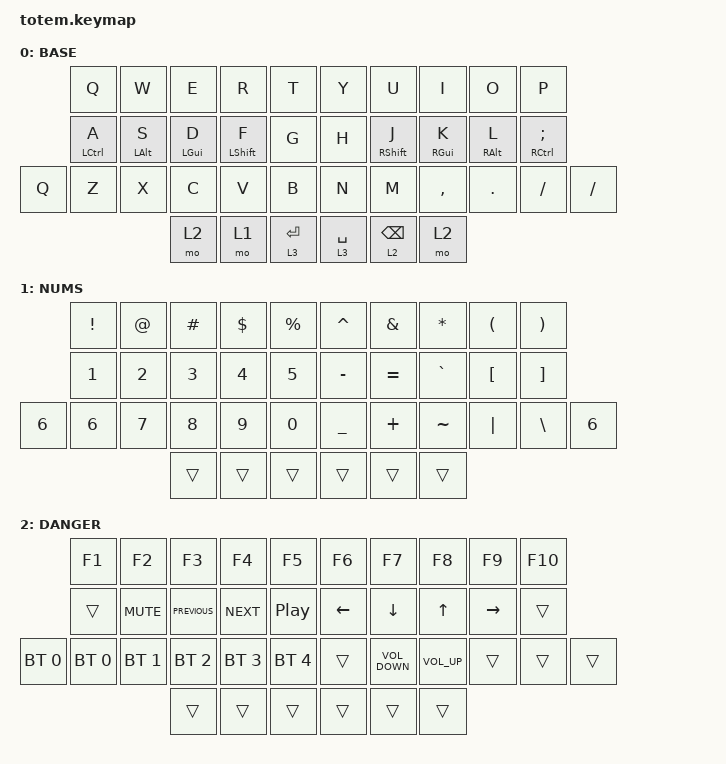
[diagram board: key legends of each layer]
//
//                                                        ▀▀▀▀▀     ▀▀▀▀▀          ▀▀█▀▀
//                                                        ▄▀▀▀▄  ▄  ▄▀▀▀▄  ▄  ▄▀▀▀▄  █  ▄▀▀▀▄
//                                                        █   █  █  █   █  █  █   █  █  █   █
//                                                         ▀▀▀   █   ▀▀▀   █   ▀▀▀   ▀   ▀▀▀
//                                                               █      ▄▄▄█▄▄▄    █   █  
//                                                               ▀      █  █  █     █▄█
//                                                             ▀▀▀▀▀    █  █  █      ▀
//                                                                      ▀  ▀  ▀
//
// ▄▄▄▄▄▄▄▄▄▄▄▄▄▄▄▄▄▄▄▄▄▄▄▄▄▄▄▄▄▄▄▄▄▄▄▄▄▄▄▄▄▄▄▄▄▄▄▄▄▄▄▄▄▄▄▄▄▄▄▄▄▄▄▄▄▄▄▄▄▄▄▄▄▄▄▄▄▄▄▄▄▄▄▄▄▄▄▄▄▄▄▄▄▄▄▄▄▄▄▄▄▄▄▄▄▄▄▄▄▄▄▄▄▄▄▄▄▄▄▄▄▄▄▄▄▄▄▄▄▄▄▄▄▄▄▄▄▄▄▄▄▄▄▄▄▄▄▄▄

#include "zmk-helpers/helper.h"

#define HM_TAPPING_TERM 180
#define HM_TAPPING_TERM_FAST 150
#define HM_PRIOR_IDLE 120
#define COMBO_TERM_FAST 35
#define COMBO_TERM_SLOW 40
#define COMBO_PRIOR_IDLE 80
#define BASE 0
#define NUMS 1
#define DANGER 2

/* use helper macros to define left and right hand keys */

#include "zmk-helpers/key-labels/totem.h"                                   // key-position labels
#include <behaviors.dtsi>
#include <dt-bindings/zmk/bt.h>
#include <dt-bindings/zmk/keys.h>

#define KEYS_L LT0 LT1 LT2 LT3 LT4 LM0 LM1 LM2 LM3 LM4 LB0 LB1 LB2 LB3 LB4  // left-hand keys
#define KEYS_R RT0 RT1 RT2 RT3 RT4 RM0 RM1 RM2 RM3 RM4 RB0 RB1 RB2 RB3 RB4  // right-hand keys
#define KEYS_T LH2 LH1 LH0 RH0 RH1 RH2                                      // thumb keys

&lt { tapping-term-ms = <175>; };

/ {
    combos {
        compatible = "zmk,combos";

        //INFO: Brackets and braces

        combo_paren_l {
            timeout-ms = <COMBO_TERM_FAST>;
            require-prior-idle-ms = <COMBO_PRIOR_IDLE>;
            bindings = <&kp LEFT_PARENTHESIS>;
            key-positions = <2 3>;
        };

        combo_paren_r {
            timeout-ms = <COMBO_TERM_FAST>;
            require-prior-idle-ms = <COMBO_PRIOR_IDLE>;
            bindings = <&kp RIGHT_PARENTHESIS>;
            key-positions = <6 7>;
        };

        combo_bracket_l {
            timeout-ms = <COMBO_TERM_FAST>;
            require-prior-idle-ms = <COMBO_PRIOR_IDLE>;
            bindings = <&kp LEFT_BRACKET>;
            key-positions = <0 1>;
        };

        combo_bracket_r {
            timeout-ms = <COMBO_TERM_FAST>;
            require-prior-idle-ms = <COMBO_PRIOR_IDLE>;
            bindings = <&kp RIGHT_BRACKET>;
            key-positions = <8 9>;
        };

        combo_brace_l {
            timeout-ms = <COMBO_TERM_FAST>;
            require-prior-idle-ms = <COMBO_PRIOR_IDLE>;
            bindings = <&kp LEFT_BRACE>;
            key-positions = <1 2>;
        };

        combo_brace_r {
            timeout-ms = <COMBO_TERM_FAST>;
            require-prior-idle-ms = <COMBO_PRIOR_IDLE>;
            bindings = <&kp RIGHT_BRACE>;
            key-positions = <7 8>;
        };

        //INFO: System commands

        combo_caps_word {
            timeout-ms = <COMBO_TERM_FAST>;
            require-prior-idle-ms = <COMBO_PRIOR_IDLE>;
            bindings = <&caps_word>;
            key-positions = <15 16>;
        };

        combo_esc_l {
            timeout-ms = <COMBO_TERM_FAST>;
            require-prior-idle-ms = <COMBO_PRIOR_IDLE>;
            bindings = <&kp ESCAPE>;
            key-positions = <0 1 2>;
        };

        combo_esc_r {
            timeout-ms = <COMBO_TERM_FAST>;
            require-prior-idle-ms = <COMBO_PRIOR_IDLE>;
            bindings = <&kp ESCAPE>;
            key-positions = <27 28>;
        };

        combo_tab {
            timeout-ms = <COMBO_TERM_FAST>;
            require-prior-idle-ms = <COMBO_PRIOR_IDLE>;
            bindings = <&kp TAB>;
            key-positions = <28 29>;
        };

        combo_grave {
            timeout-ms = <COMBO_TERM_FAST>;
            require-prior-idle-ms = <COMBO_PRIOR_IDLE>;
            bindings = <&kp GRAVE>;
            key-positions = <29 30>;
        };

        //INFO: Edit commands

        combo_undo {
            timeout-ms = <COMBO_TERM_FAST>;
            require-prior-idle-ms = <COMBO_PRIOR_IDLE>;
            bindings = <&kp LG(Z)>;
            key-positions = <21 22>;
        };

        combo_redo {
            timeout-ms = <COMBO_TERM_FAST>;
            require-prior-idle-ms = <COMBO_PRIOR_IDLE>;
            bindings = <&kp LS(LG(Z))>;
            key-positions = <24 25>;
        };

        combo_copy {
            timeout-ms = <COMBO_TERM_FAST>;
            require-prior-idle-ms = <COMBO_PRIOR_IDLE>;
            bindings = <&kp LG(C)>;
            key-positions = <22 23>;
        };

        combo_paste {
            timeout-ms = <COMBO_TERM_FAST>;
            require-prior-idle-ms = <COMBO_PRIOR_IDLE>;
            bindings = <&kp LG(V)>;
            key-positions = <23 24>;
        };

        //INFO: Special characters

        combo_quote {
            timeout-ms = <COMBO_TERM_FAST>;
            require-prior-idle-ms = <COMBO_PRIOR_IDLE>;
            bindings = <&kp SINGLE_QUOTE>;
            key-positions = <19 18>;
        };

        combo_underscore {
            timeout-ms = <COMBO_TERM_FAST>;
            require-prior-idle-ms = <COMBO_PRIOR_IDLE>;
            bindings = <&kp UNDERSCORE>;
            key-positions = <3 13>;
        };

        combo_minus {
            timeout-ms = <COMBO_TERM_FAST>;
            require-prior-idle-ms = <COMBO_PRIOR_IDLE>;
            bindings = <&kp MINUS>;
            key-positions = <6 16>;
        };

        combo_plus {
            timeout-ms = <COMBO_TERM_FAST>;
            require-prior-idle-ms = <COMBO_PRIOR_IDLE>;
            bindings = <&kp PLUS>;
            key-positions = <7 17>;
        };

        combo_equal {
            timeout-ms = <COMBO_TERM_FAST>;
            require-prior-idle-ms = <COMBO_PRIOR_IDLE>;
            bindings = <&kp EQUAL>;
            key-positions = <8 18>;
        };

        bt_clr {
            bindings = <&bt BT_CLR>;
            key-positions = <20 31>;
            layers = <2>;
        };
    };

    behaviors {
        hm_l: homerow_mods_left {
            compatible = "zmk,behavior-hold-tap";
            #binding-cells = <2>;
            bindings = <&kp>, <&kp>;

            flavor = "balanced";
            tapping-term-ms = <HM_TAPPING_TERM>;
            quick-tap-ms = <HM_TAPPING_TERM_FAST>;
            require-prior-idle-ms = <HM_PRIOR_IDLE>;
            hold-trigger-key-positions = <KEYS_R KEYS_T>;
            hold-trigger-on-release;
        };

        hm_r: homerow_mods_right {
            compatible = "zmk,behavior-hold-tap";
            #binding-cells = <2>;
            bindings = <&kp>, <&kp>;

            flavor = "balanced";
            tapping-term-ms = <HM_TAPPING_TERM>;
            quick-tap-ms = <HM_TAPPING_TERM_FAST>;
            require-prior-idle-ms = <HM_PRIOR_IDLE>;
            hold-trigger-key-positions = <KEYS_L KEYS_T>;
            hold-trigger-on-release;
        };
    };

    keymap {
        compatible = "zmk,keymap";

        default_layer {
            display-name = "BASE";
            bindings = <
       &kp Q          &kp W         &kp E         &kp R          &kp T          &kp Y        &kp U            &kp I         &kp O         &kp P
       &hm_l LCTRL A  &hm_l LALT S  &hm_l LGUI D  &hm_l LSHFT F  &kp G          &kp H        &hm_r RSHFT J    &hm_r RGUI K  &hm_r RALT L  &hm_r RCTRL SEMI
&kp Q  &kp Z          &kp X         &kp C         &kp V          &kp B          &kp N        &kp M            &kp COMMA     &kp DOT       &kp SLASH         &kp SLASH
                                    &mo 2         &mo 1          &lt 3 ENTER    &lt 3 SPACE  &lt 2 BACKSPACE  &mo 2
            >;
        };

        raise_layer {
            display-name = "NUMS";
            bindings = <
              &kp EXCL      &kp AT        &kp HASH      &kp DLLR      &kp PRCNT       &kp CARET  &kp AMPS   &kp ASTRK  &kp LPAR          &kp RPAR
              &kp NUMBER_1  &kp NUMBER_2  &kp NUMBER_3  &kp NUMBER_4  &kp NUMBER_5    &kp MINUS  &kp EQUAL  &kp GRAVE  &kp LEFT_BRACKET  &kp RIGHT_BRACKET
&kp NUMBER_6  &kp NUMBER_6  &kp NUMBER_7  &kp NUMBER_8  &kp N9        &kp NUMBER_0    &kp UNDER  &kp PLUS   &kp TILDE  &kp PIPE          &kp BACKSLASH      &kp NUMBER_6
                                          &trans        &trans        &trans          &trans     &trans     &trans
            >;
        };

        lower_layer {
            display-name = "DANGER";
            bindings = <
              &kp F1        &kp F2        &kp F3          &kp F4        &kp F5              &kp F6    &kp F7             &kp F8           &kp F9     &kp F10
              &trans        &kp C_MUTE    &kp C_PREVIOUS  &kp C_NEXT    &kp C_PLAY_PAUSE    &kp LEFT  &kp DOWN           &kp UP           &kp RIGHT  &trans
&bt BT_SEL 0  &bt BT_SEL 0  &bt BT_SEL 1  &bt BT_SEL 2    &bt BT_SEL 3  &bt BT_SEL 4        &trans    &kp C_VOLUME_DOWN  &kp C_VOLUME_UP  &trans     &trans   &trans
                                          &trans          &trans        &trans              &trans    &trans             &trans
            >;
        };
    };
};
